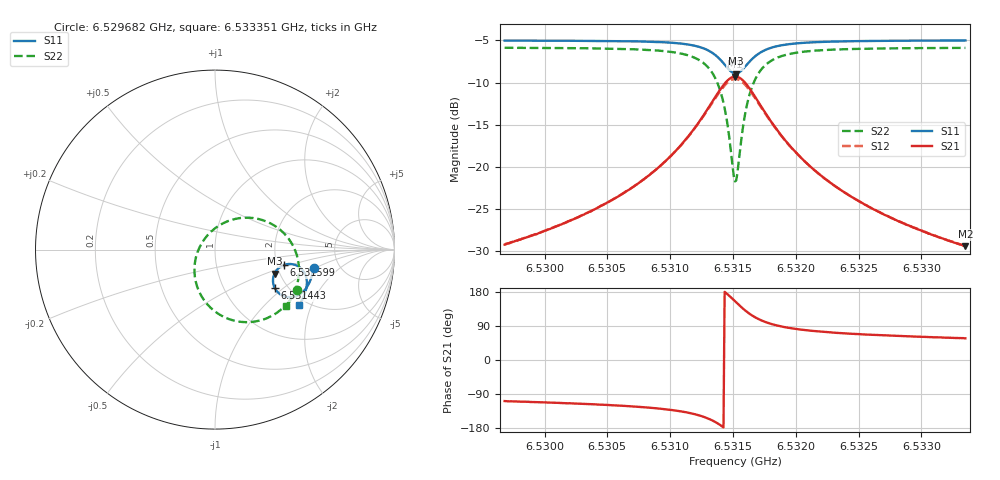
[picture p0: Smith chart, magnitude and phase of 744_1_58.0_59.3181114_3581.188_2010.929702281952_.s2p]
#  HZ  S  RI  R  50.00
! Rohde & Schwarz Vector Network Analyzer
! Rohde-Schwarz,ZNB20-2Port,1311601062101988,3.16
! Created: UTC 3/21/2024, 1:23:42 AM
! freq[Hz]  re:S11  im:S11  re:S21  im:S21  re:S12  im:S12  re:S22  im:S22
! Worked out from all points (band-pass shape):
!   401 points, 6.529682 GHz to 6.533351 GHz, reference 50 ohm
!   highest |S21| = -9.29 dB at 6.531517 GHz (marker M1); lowest = -29.4 dB at 6.533351 GHz (marker M2)
!   |S21| within 3 dB of the highest: 6.531335 GHz to 6.531702 GHz (367.2 kHz wide, 0.00562 % of centre)
!   lowest |S11| = -8.9 dB at 6.531526 GHz (marker M3), VSWR 2.11, Z = 93.9 - j28.7 ohm
!   |S11| at or under -10 dB: nowhere
!   |S22| runs from -21.7 to -5.9 dB; largest |S21 - S12| = 0.014
!   S11 on the Smith chart (normalised r, x): 6.529682 GHz: 3.22, -0.98; 6.531443 GHz: 1.72, -0.88; 6.531599 GHz: 2.19, -0.44; 6.533351 GHz: 1.81, -1.64
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6.5296824e9  0.5502 -0.1049  -0.0109 -0.0328  -0.0118 -0.0327  0.4565 -0.2231
6.5302968e9  0.5362 -0.1571  -0.0223 -0.0466  -0.0234 -0.046  0.4194 -0.2812
6.5306178e9  0.5237 -0.1878  -0.0352 -0.0593  -0.037 -0.0585  0.385 -0.3194
6.5309113e9  0.5032 -0.2209  -0.0616 -0.0785  -0.064 -0.0765  0.3259 -0.3641
6.5311222e9  0.4725 -0.249  -0.1069 -0.0975  -0.1099 -0.0934  0.2354 -0.3985
6.5312873e9  0.4196 -0.2657  -0.1894 -0.0988  -0.1909 -0.0906  0.0864 -0.39
6.531379e9  0.3692 -0.2527  -0.2665 -0.0599  -0.2635 -0.0484  -0.0389 -0.3088
6.5314157e9  0.3473 -0.2348  -0.2985 -0.0234  -0.2919 -0.0118  -0.0849 -0.2412
6.5314432e9  0.3334 -0.2151  -0.3171 0.0148  -0.3079 0.0251  -0.108 -0.1745
6.5314983e9  0.3236 -0.1615  -0.3224 0.1109  -0.3091 0.1158  -0.098 -0.016
6.5315166e9  0.3279 -0.1425  -0.3114 0.1439  -0.2979 0.1464  -0.074 0.0354
6.5315258e9  0.3316 -0.1335  -0.3034 0.1594  -0.2901 0.1609  -0.0582 0.0591
6.5315441e9  0.3416 -0.1168  -0.2833 0.1877  -0.2707 0.1867  -0.0203 0.1015
6.5315991e9  0.3852 -0.0851  -0.2034 0.2396  -0.1952 0.235  0.1195 0.1724
6.5316266e9  0.4083 -0.0803  -0.1627 0.2472  -0.1566 0.2422  0.1883 0.178
6.5316633e9  0.4356 -0.0821  -0.115 0.2437  -0.1114 0.2393  0.2668 0.1637
6.531755e9  0.4805 -0.1063  -0.0392 0.2068  -0.0375 0.2045  0.3896 0.0853
6.5318926e9  0.5058 -0.1461  0.00515 0.151  0.00632 0.1501  0.4543 -0.0254
6.5321311e9  0.5118 -0.1937  0.0222 0.0958  0.0235 0.0953  0.4672 -0.1376
6.5324062e9  0.5054 -0.2295  0.0238 0.065  0.0247 0.0647  0.4541 -0.206
6.5327455e9  0.4933 -0.2625  0.0217 0.0455  0.0227 0.0451  0.4336 -0.2568
6.5333508e9  0.4686 -0.3093  0.0183 0.0285  0.0189 0.0282  0.3982 -0.3142
